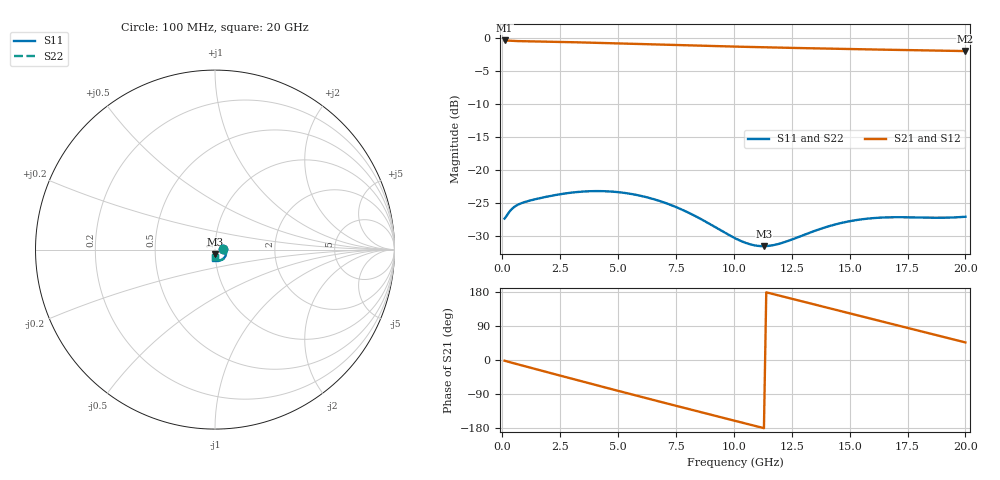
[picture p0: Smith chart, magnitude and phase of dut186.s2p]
! Touchstone file exported from HFSS 2026.1.0
!  File:  C:/ffzhzh/LocalFiles/Ansys_Project_Files/temp_train_TSV_RDL_186_1783057969_18316.aedt
!  Generated:  02:04:15 PM Jul  3, 2026
!  Design:  TSV_RDL
!  Project:  temp_train_TSV_RDL_186_1783057969_18316
! Variables:
!  h_bsmrdl = 4.63um
!  h_ox = 20um
!  h_rdl = 5um
!  h_sub = 74.34um
!  h_tmrdl = 5.67um
!  h_tsv = 74.34um
!  h_via = 3um
!  l_bsmrdl = 972.78um
!  l_sub = 5489.49um
!  l_tmrdl = 526.97um
!  m_sub = 200um
!  pitch = 13.89um
!  r_tsv = 2.38um
!  s_tmrdl = 10um
!  w_bsmrdl = 10.53um
!  w_sub = 500um
!  w_tmrdl = 10.56um
!  x_tsv_center1 = 532.25um
!  x_tsv_center2 = 1515.56um
!  x_tsv_center3 = 2053.09um
!  x_tsv_center4 = 3036.4um
!  x_tsv_center5 = 3573.93um
!  x_tsv_center6 = 4557.24um
# GHz S MA R 50.000000
! Terminal data exported
! Port[1] = TM_RDL1_1_T1
! Port[2] = TM_RDL5_1_T1
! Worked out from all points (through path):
!   200 points, 100 MHz to 20 GHz, reference 50 ohm
!   highest |S21| = -0.38 dB at 100 MHz (marker M1); lowest = -2.0 dB at 20 GHz (marker M2)
!   group delay of S21, straight-line fit = 43.3 ps
!   lowest |S11| = -31.6 dB at 11.3 GHz (marker M3), VSWR 1.05, Z = 50.1 - j2.64 ohm
!   |S11| at or under -10 dB: start of sweep to end of sweep
!   |S22| runs from -31.5 to -23.2 dB; largest |S21 - S12| = 1.5e-14
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0.1  0.04269 4.3  0.9575 -1.9  0.9575 -1.9  0.04269 4.3
! Gamma 0 0 0 0
! Port Impedance 50 0 50 0
0.6  0.05355 3.9  0.9477 -10.3  0.9477 -10.3  0.05355 3.9
1.7  0.0614 -10.0  0.9392 -28.2  0.9392 -28.2  0.06138 -10.0
2.6  0.06575 -21.9  0.9323 -42.8  0.9323 -42.8  0.06572 -21.9
3.5  0.06847 -35.0  0.9243 -57.3  0.9243 -57.3  0.06842 -35.0
4.3  0.06897 -47.1  0.9165 -70.2  0.9165 -70.2  0.0689 -47.0
5.1  0.06746 -59.2  0.9084 -83.0  0.9084 -83.0  0.06737 -59.1
5.9  0.06398 -70.8  0.9 -95.6  0.9 -95.6  0.06387 -70.7
6.8  0.05802 -82.8  0.8907 -109.8  0.8907 -109.8  0.0579 -82.7
7.6  0.05136 -91.9  0.8827 -122.4  0.8827 -122.4  0.05123 -91.7
8.5  0.04308 -99.3  0.874 -136.4  0.874 -136.4  0.04297 -99.1
9.3  0.0359 -102.0  0.8666 -148.9  0.8666 -148.9  0.03582 -101.8
10.1  0.03002 -99.7  0.8597 -161.3  0.8597 -161.3  0.02999 -99.4
11.3  0.02638 -87.4  0.85 -179.9  0.85 -179.9  0.02646 -87.0
12.3  0.02874 -77.8  0.8425 164.7  0.8425 164.7  0.02885 -77.7
13.4  0.034 -75.1  0.8347 147.8  0.8347 147.8  0.03408 -75.1
15.1  0.04108 -80.6  0.8236 121.6  0.8236 121.6  0.04101 -80.7
15.9  0.04288 -84.3  0.8186 109.3  0.8186 109.3  0.04272 -84.4
16.7  0.04366 -87.7  0.8138 97.0  0.8138 97.0  0.0434 -87.8
17.5  0.04368 -90.2  0.8092 84.7  0.8092 84.7  0.04334 -90.2
18.3  0.0434 -91.5  0.8047 72.5  0.8047 72.5  0.04298 -91.3
20  0.0441 -90.9  0.7955 46.4  0.7955 46.4  0.04366 -90.3
